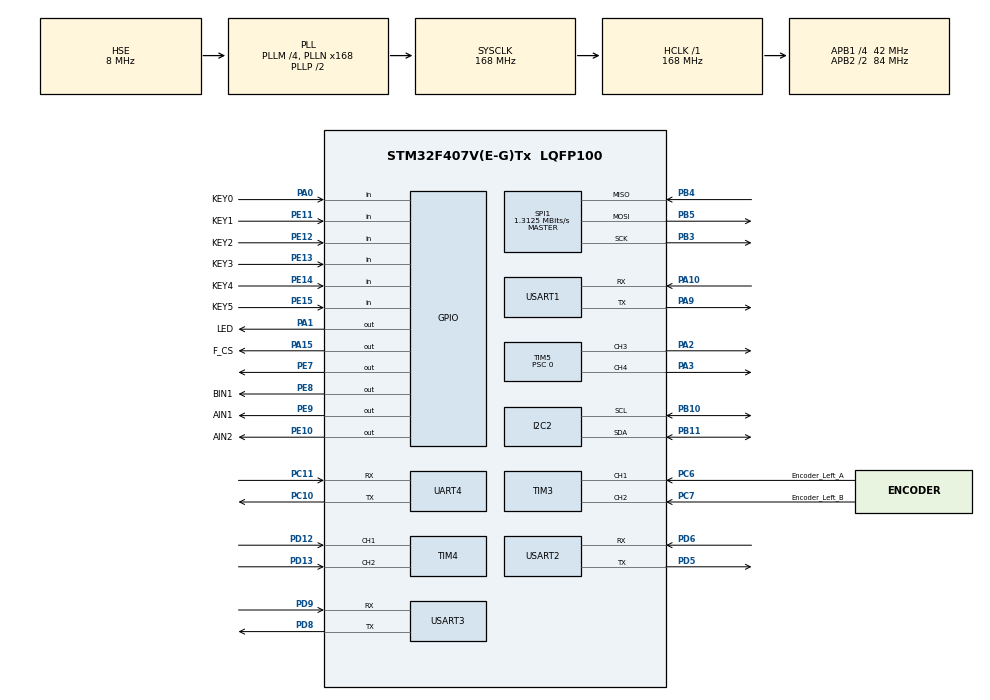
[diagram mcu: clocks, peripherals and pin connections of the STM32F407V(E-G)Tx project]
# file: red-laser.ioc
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Dma.Request0=USART1_RX
Dma.Request1=USART2_RX
Dma.Request2=USART3_RX
Dma.Request3=UART4_RX
Dma.UART4_RX.3.Direction=DMA_PERIPH_TO_MEMORY
Dma.UART4_RX.3.FIFOMode=DMA_FIFOMODE_DISABLE
Dma.UART4_RX.3.Instance=DMA1_Stream2
Dma.UART4_RX.3.MemDataAlignment=DMA_MDATAALIGN_BYTE
Dma.UART4_RX.3.MemInc=DMA_MINC_ENABLE
Dma.UART4_RX.3.Mode=DMA_NORMAL
Dma.UART4_RX.3.PeriphDataAlignment=DMA_PDATAALIGN_BYTE
Dma.UART4_RX.3.PeriphInc=DMA_PINC_DISABLE
Dma.UART4_RX.3.Priority=DMA_PRIORITY_LOW
Dma.USART1_RX.0.Direction=DMA_PERIPH_TO_MEMORY
Dma.USART1_RX.0.FIFOMode=DMA_FIFOMODE_DISABLE
Dma.USART1_RX.0.Instance=DMA2_Stream2
Dma.USART1_RX.0.MemDataAlignment=DMA_MDATAALIGN_BYTE
Dma.USART1_RX.0.MemInc=DMA_MINC_ENABLE
Dma.USART1_RX.0.Mode=DMA_NORMAL
Dma.USART1_RX.0.PeriphDataAlignment=DMA_PDATAALIGN_BYTE
Dma.USART1_RX.0.PeriphInc=DMA_PINC_DISABLE
Dma.USART1_RX.0.Priority=DMA_PRIORITY_LOW
Dma.USART2_RX.1.Direction=DMA_PERIPH_TO_MEMORY
Dma.USART2_RX.1.FIFOMode=DMA_FIFOMODE_DISABLE
Dma.USART2_RX.1.Instance=DMA1_Stream5
Dma.USART2_RX.1.MemDataAlignment=DMA_MDATAALIGN_BYTE
Dma.USART2_RX.1.MemInc=DMA_MINC_ENABLE
Dma.USART2_RX.1.Mode=DMA_NORMAL
Dma.USART2_RX.1.PeriphDataAlignment=DMA_PDATAALIGN_BYTE
Dma.USART2_RX.1.PeriphInc=DMA_PINC_DISABLE
Dma.USART2_RX.1.Priority=DMA_PRIORITY_LOW
Dma.USART3_RX.2.Direction=DMA_PERIPH_TO_MEMORY
Dma.USART3_RX.2.FIFOMode=DMA_FIFOMODE_DISABLE
Dma.USART3_RX.2.Instance=DMA1_Stream1
Dma.USART3_RX.2.MemDataAlignment=DMA_MDATAALIGN_BYTE
Dma.USART3_RX.2.MemInc=DMA_MINC_ENABLE
Dma.USART3_RX.2.Mode=DMA_NORMAL
Dma.USART3_RX.2.PeriphDataAlignment=DMA_PDATAALIGN_BYTE
Dma.USART3_RX.2.PeriphInc=DMA_PINC_DISABLE
Dma.USART3_RX.2.Priority=DMA_PRIORITY_LOW
I2C2.I2C_Mode=I2C_Fast
Mcu.Family=STM32F4
Mcu.Name=STM32F407V(E-G)Tx
Mcu.Package=LQFP100
NVIC.DMA1_Stream1_IRQn=true\:0\:0\:false\:false\:true\:false\:true\:true
NVIC.DMA1_Stream2_IRQn=true\:0\:0\:false\:false\:true\:false\:true\:true
NVIC.DMA1_Stream5_IRQn=true\:0\:0\:false\:false\:true\:false\:true\:true
NVIC.DMA2_Stream2_IRQn=true\:0\:0\:false\:false\:true\:false\:true\:true
NVIC.PriorityGroup=NVIC_PRIORITYGROUP_4
NVIC.TIM5_IRQn=true\:0\:0\:false\:false\:true\:true\:true\:true
NVIC.TIM6_DAC_IRQn=true\:0\:0\:false\:false\:true\:true\:true\:true
NVIC.UART4_IRQn=true\:0\:0\:false\:false\:true\:true\:true\:true
NVIC.USART1_IRQn=true\:0\:0\:false\:false\:true\:true\:true\:true
NVIC.USART2_IRQn=true\:0\:0\:false\:false\:true\:true\:true\:true
NVIC.USART3_IRQn=true\:0\:0\:false\:false\:true\:true\:true\:true
PA0-WKUP.GPIO_Label=KEY0
PA0-WKUP.Signal=GPIO_Input
PA1.GPIO_Label=LED
PA1.Signal=GPIO_Output
PA10.Mode=Asynchronous
PA10.Signal=USART1_RX
PA13.Mode=Serial_Wire
PA13.Signal=SYS_JTMS-SWDIO
PA14.Mode=Serial_Wire
PA14.Signal=SYS_JTCK-SWCLK
PA15.GPIO_Label=F_CS
PA15.Signal=GPIO_Output
PA2.Signal=S_TIM5_CH3
PA3.Signal=S_TIM5_CH4
PA9.Mode=Asynchronous
PA9.Signal=USART1_TX
PB10.Mode=I2C
PB10.Signal=I2C2_SCL
PB11.Mode=I2C
PB11.Signal=I2C2_SDA
PB3.Mode=Full_Duplex_Master
PB3.Signal=SPI1_SCK
PB4.Mode=Full_Duplex_Master
PB4.Signal=SPI1_MISO
PB5.Mode=Full_Duplex_Master
PB5.Signal=SPI1_MOSI
PC10.Mode=Asynchronous
PC10.Signal=UART4_TX
PC11.Mode=Asynchronous
PC11.Signal=UART4_RX
PC6.GPIO_Label=Encoder_Left_A
PC6.Signal=S_TIM3_CH1
PC7.GPIO_Label=Encoder_Left_B
PC7.Signal=S_TIM3_CH2
PD12.Signal=S_TIM4_CH1
PD13.Signal=S_TIM4_CH2
PD5.Mode=Asynchronous
PD5.Signal=USART2_TX
PD6.Mode=Asynchronous
PD6.Signal=USART2_RX
PD8.Mode=Asynchronous
PD8.Signal=USART3_TX
PD9.Mode=Asynchronous
PD9.Signal=USART3_RX
PE10.GPIO_Label=AIN2
PE10.Signal=GPIO_Output
PE11.GPIO_Label=KEY1
PE11.GPIO_PuPd=GPIO_PULLUP
PE11.Signal=GPIO_Input
PE12.GPIO_Label=KEY2
PE12.GPIO_PuPd=GPIO_PULLUP
PE12.Signal=GPIO_Input
PE13.GPIO_Label=KEY3
PE13.GPIO_PuPd=GPIO_PULLUP
PE13.Signal=GPIO_Input
PE14.GPIO_Label=KEY4
PE14.GPIO_PuPd=GPIO_PULLUP
PE14.Signal=GPIO_Input
PE15.GPIO_Label=KEY5
PE15.GPIO_PuPd=GPIO_PULLUP
PE15.Signal=GPIO_Input
PE7.Signal=GPIO_Output
PE8.GPIO_Label=BIN1
PE8.Signal=GPIO_Output
PE9.GPIO_Label=AIN1
PE9.Signal=GPIO_Output
PH0-OSC_IN.Mode=HSE-External-Oscillator
PH0-OSC_IN.Signal=RCC_OSC_IN
PH1-OSC_OUT.Mode=HSE-External-Oscillator
PH1-OSC_OUT.Signal=RCC_OSC_OUT
ProjectManager.HeapSize=0x200
ProjectManager.StackSize=0x400
ProjectManager.TargetToolchain=STM32CubeIDE
RCC.48MHZClocksFreq_Value=48000000
RCC.AHBFreq_Value=168000000
RCC.APB1CLKDivider=RCC_HCLK_DIV4
RCC.APB1Freq_Value=42000000
RCC.APB1TimFreq_Value=84000000
RCC.APB2CLKDivider=RCC_HCLK_DIV2
RCC.APB2Freq_Value=84000000
RCC.APB2TimFreq_Value=168000000
RCC.CortexFreq_Value=168000000
RCC.HCLKFreq_Value=168000000
RCC.HSE_VALUE=8000000
RCC.HSI_VALUE=16000000
RCC.LSE_VALUE=32768
RCC.PLLM=4
RCC.PLLN=168
RCC.PLLQ=7
RCC.PLLSourceVirtual=RCC_PLLSOURCE_HSE
RCC.SYSCLKFreq_VALUE=168000000
RCC.SYSCLKSource=RCC_SYSCLKSOURCE_PLLCLK
RCC.VCOOutputFreq_Value=336000000
SH.S_TIM3_CH1.0=TIM3_CH1,Encoder_Interface
SH.S_TIM3_CH2.0=TIM3_CH2,Encoder_Interface
SH.S_TIM4_CH1.0=TIM4_CH1,Encoder_Interface
SH.S_TIM4_CH2.0=TIM4_CH2,Encoder_Interface
SH.S_TIM5_CH3.0=TIM5_CH3,PWM Generation3 CH3
SH.S_TIM5_CH4.0=TIM5_CH4,PWM Generation4 CH4
SPI1.BaudRatePrescaler=SPI_BAUDRATEPRESCALER_64
SPI1.CLKPhase=SPI_PHASE_1EDGE
SPI1.CLKPolarity=SPI_POLARITY_LOW
SPI1.CalculateBaudRate=1.3125 MBits/s
SPI1.Direction=SPI_DIRECTION_2LINES
SPI1.Mode=SPI_MODE_MASTER
SPI1.VirtualType=VM_MASTER
TIM3.EncoderMode=TIM_ENCODERMODE_TI12
TIM4.EncoderMode=TIM_ENCODERMODE_TI12
TIM5.Channel-PWM\ Generation3\ CH3=TIM_CHANNEL_3
TIM5.Channel-PWM\ Generation4\ CH4=TIM_CHANNEL_4
TIM5.Period=280000-1
TIM5.Prescaler=0
TIM6.Period=100-1
TIM6.Prescaler=16800-1
UART4.VirtualMode=Asynchronous
USART1.VirtualMode=VM_ASYNC
USART2.VirtualMode=VM_ASYNC
USART3.VirtualMode=VM_ASYNC
VP_RNG_VS_RNG.Mode=RNG_Activate
VP_TIM5_VS_ClockSourceINT.Mode=Internal
VP_TIM6_VS_ClockSourceINT.Mode=Enable_Timer
VP_TIM7_VS_ClockSourceINT.Mode=Enable_Timer
board=custom

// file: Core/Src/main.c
/* USER CODE BEGIN Header */
/**
  ******************************************************************************
  * @file           : main.c
  * @brief          : Main program body
  ******************************************************************************
  * @attention
  *
  * Copyright (c) 2023 STMicroelectronics.
  * All rights reserved.
  *
  * This software is licensed under terms that can be found in the LICENSE file
  * in the root directory of this software component.
  * If no LICENSE file comes with this software, it is provided AS-IS.
  *
  ******************************************************************************
  */
/* USER CODE END Header */
#include "main.h"
#include "dma.h"
#include "i2c.h"
#include "rng.h"
#include "spi.h"
#include "tim.h"
#include "usart.h"
#include "gpio.h"

/* USER CODE BEGIN Includes */
#include "steer.h"
#include "fezui.h"
#include "communication.h"
#include "pid-control.h"
#include "lefl.h"
/* USER CODE END Includes */

/* USER CODE BEGIN PV */
cartesian_coordinate_system_t central_point = {X_CENTRAL,Y_CENTRAL,Z_CENTRAL};
cartesian_coordinate_system_t f_point = {250,Y_CENTRAL,194};
cartesian_coordinate_system_t k_point = {-250,Y_CENTRAL,-100};
cartesian_coordinate_system_t *temp_point;
/* USER CODE END PV */

void SystemClock_Config(void);

/* USER CODE BEGIN 0 */

#define CPU_FREQUENCY_MHZ    168//
void delay_us(__IO uint32_t delay)
{
  int last, curr, val;  int temp;
  while (delay != 0)
  {
    temp = delay > 900 ? 900 : delay;
    last = SysTick->VAL;
    curr = last - CPU_FREQUENCY_MHZ * temp;
    if (curr >= 0)
    {
      do{ val = SysTick->VAL; }
      while ((val < last) && (val >= curr));
    }
    else
    {
       curr += CPU_FREQUENCY_MHZ * 1000;
       do{ val = SysTick->VAL;  }
       while ((val <= last) || (val > curr));
    }
       delay -= temp;
  }
}

#define FAULT_TOLERANT 8 //容错，单位mm
void HAL_TIM_PeriodElapsedCallback(TIM_HandleTypeDef *htim)
{
    if (htim->Instance == TIM6)
    {
#if DISCRETE_MOVE == 1
        move_interval_i+=1;
        if(move_interval_i>=move_interval)
        {
            move_interval_i=0;
            move_step++;
            get_point_on_line(&target_actual_point, from_actual_point, to_actual_point, move_count, move_step);
        }
#else
        get_point_on_line(&target_actual_point, from_actual_point, to_actual_point, move_count, move_step);
        move_step++;
#endif
#if PAUSE_ENABLE  == 1
        lefl_key_update(&pause_key, !HAL_GPIO_ReadPin(KEY5_GPIO_Port, KEY5_Pin));
        if(paused)
        {
            STEER_TIMER_STOP();
            while(paused)
            {
                lefl_key_update(&pause_key, !HAL_GPIO_ReadPin(KEY5_GPIO_Port, KEY5_Pin));
                fezui_paused();
            }
            STEER_TIMER_START();
        }

#endif
        phi_pid.errdat = current_actual_point.x-target_actual_point.x;
        theta_pid.errdat = current_actual_point.z-target_actual_point.z;
        phi_control();
        theta_control();
        if(move_step>=move_count)
        {
            move_step=move_count;
            if(phi_pid.errdat<FAULT_TOLERANT&&theta_pid.errdat<FAULT_TOLERANT)
            {
                move_step=0;
                if(!Queue_Pop(&point_queue, &temp_point))
                {
                    from_actual_point = to_actual_point;
                    to_actual_point = temp_point;
                    move_count = cartesian_length(from_actual_point, to_actual_point)/(DISCRETE_MOVE_PARAMETER*1.5);
                }
                else
                {
                    STEER_TIMER_STOP();
                    moving=false;
                }
            }
        }
    }
}

/* USER CODE END 0 */

int main(void)
{

  /* MCU Configuration--------------------------------------------------------*/

  /* Reset of all peripherals, Initializes the Flash interface and the Systick. */
  HAL_Init();

  /* Configure the system clock */
  SystemClock_Config();

  /* Initialize all configured peripherals */
  MX_GPIO_Init();
  MX_DMA_Init();
  MX_I2C2_Init();
  MX_TIM3_Init();
  MX_TIM4_Init();
  MX_TIM5_Init();
  MX_TIM6_Init();
  MX_TIM7_Init();
  MX_USART1_UART_Init();
  MX_USART2_UART_Init();
  MX_USART3_UART_Init();
  MX_UART4_Init();
  MX_RNG_Init();
  MX_SPI1_Init();
  /* USER CODE BEGIN 2 */

  HAL_TIM_PWM_Start(&htim5, TIM_CHANNEL_3);
  HAL_TIM_PWM_Start(&htim5, TIM_CHANNEL_4);
  pause_key.key_cb = lambda(void,(lefl_key_t*){paused=!paused;});
  Queue_Init(&point_queue, point_collection, 16);
  fezui_init();
  //HAL_TIM_Base_Start_IT(&htim5);
  Communication_Enable(&huart1,USART1_RX_Buffer,BUFFER_LENGTH);
  steer_set_cartesian(&central_point);
  theta_pid.last_pidout = steer_set_theta(90);
  theta_pid.pidout = steer_set_theta(90);
  phi_pid.last_pidout = steer_set_phi(90);
  phi_pid.pidout = steer_set_phi(90);
  /* USER CODE END 2 */

  /* Infinite loop */
  /* USER CODE BEGIN WHILE */
  while (1)
  {
    fezui_timer_handler();
    //steer_linear_follow(&point1,&point2,5000);
    //HAL_Delay(1000);
    //steer_linear_follow(&point2,&point1,5000);
    //HAL_Delay(1000);
    //steer_linear_follow(&point3,&point1,1000);
    //__HAL_TIM_SET_COMPARE(&htim5,TIM_CHANNEL_3,angle_to_pulse(0));
    //HAL_Delay(1000);
    /* USER CODE END WHILE */

  }
}

void SystemClock_Config(void)
{
  RCC_OscInitTypeDef RCC_OscInitStruct = {0};
  RCC_ClkInitTypeDef RCC_ClkInitStruct = {0};

  /** Configure the main internal regulator output voltage
  */
  __HAL_RCC_PWR_CLK_ENABLE();
  __HAL_PWR_VOLTAGESCALING_CONFIG(PWR_REGULATOR_VOLTAGE_SCALE1);

  /** Initializes the RCC Oscillators according to the specified parameters
  * in the RCC_OscInitTypeDef structure.
  */
  RCC_OscInitStruct.OscillatorType = RCC_OSCILLATORTYPE_HSE;
  RCC_OscInitStruct.HSEState = RCC_HSE_ON;
  RCC_OscInitStruct.PLL.PLLState = RCC_PLL_ON;
  RCC_OscInitStruct.PLL.PLLSource = RCC_PLLSOURCE_HSE;
  RCC_OscInitStruct.PLL.PLLM = 4;
  RCC_OscInitStruct.PLL.PLLN = 168;
  RCC_OscInitStruct.PLL.PLLP = RCC_PLLP_DIV2;
  RCC_OscInitStruct.PLL.PLLQ = 7;
  if (HAL_RCC_OscConfig(&RCC_OscInitStruct) != HAL_OK)
  {
    Error_Handler();
  }

  /** Initializes the CPU, AHB and APB buses clocks
  */
  RCC_ClkInitStruct.ClockType = RCC_CLOCKTYPE_HCLK|RCC_CLOCKTYPE_SYSCLK
                              |RCC_CLOCKTYPE_PCLK1|RCC_CLOCKTYPE_PCLK2;
  RCC_ClkInitStruct.SYSCLKSource = RCC_SYSCLKSOURCE_PLLCLK;
  RCC_ClkInitStruct.AHBCLKDivider = RCC_SYSCLK_DIV1;
  RCC_ClkInitStruct.APB1CLKDivider = RCC_HCLK_DIV4;
  RCC_ClkInitStruct.APB2CLKDivider = RCC_HCLK_DIV2;

  if (HAL_RCC_ClockConfig(&RCC_ClkInitStruct, FLASH_LATENCY_5) != HAL_OK)
  {
    Error_Handler();
  }
}

void Error_Handler(void)
{
  __disable_irq();
  while (1)
  {
  }
}
